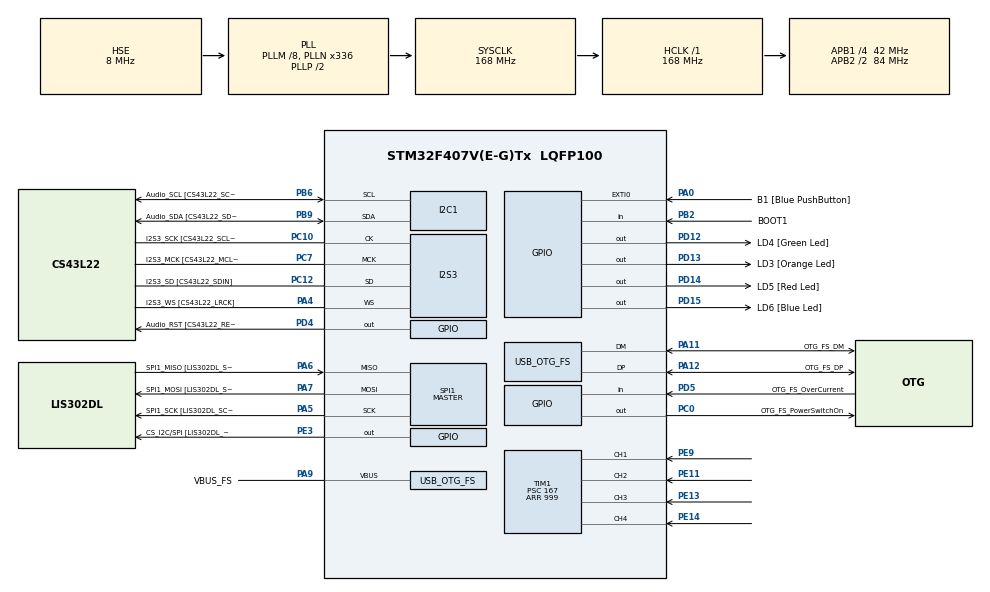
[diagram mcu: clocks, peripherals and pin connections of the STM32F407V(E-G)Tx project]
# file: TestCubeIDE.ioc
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I2S3.AudioFreq-Half_Duplex_Master=I2S_AUDIOFREQ_96K
I2S3.ErrorAudioFreq=-2.34 %
I2S3.ErrorAudioFreq-Half_Duplex_Master=0.8 %
I2S3.FullDuplexMode=I2S_FULLDUPLEXMODE_DISABLE
I2S3.Instance=SPI$Index
I2S3.RealAudioFreq=93.75 KHz
I2S3.RealAudioFreq-Half_Duplex_Master=96.774 KHz
I2S3.VirtualMode=I2S_MODE_MASTER
Mcu.Family=STM32F4
Mcu.Name=STM32F407V(E-G)Tx
Mcu.Package=LQFP100
NVIC.OTG_FS_IRQn=true\:0\:0\:false\:false\:true\:true\:true
NVIC.PriorityGroup=NVIC_PRIORITYGROUP_0
NVIC.TIM1_CC_IRQn=true\:0\:0\:false\:false\:true\:true\:true
NVIC.TIM1_UP_TIM10_IRQn=true\:0\:0\:false\:false\:true\:true\:true
NVIC.TIM2_IRQn=true\:0\:0\:false\:false\:true\:true\:true
NVIC.TIM3_IRQn=true\:0\:0\:false\:false\:true\:true\:true
NVIC.TIM4_IRQn=true\:0\:0\:false\:false\:true\:true\:true
NVIC.TIM5_IRQn=true\:0\:0\:false\:false\:true\:true\:true
PA0-WKUP.GPIO_Label=B1 [Blue PushButton]
PA0-WKUP.GPIO_ModeDefaultEXTI=GPIO_MODE_EVT_RISING
PA0-WKUP.GPIO_PuPd=GPIO_NOPULL
PA0-WKUP.Signal=GPXTI0
PA10.GPIO_Label=OTG_FS_ID
PA10.GPIO_Mode=GPIO_MODE_AF_PP
PA10.GPIO_PuPd=GPIO_NOPULL
PA10.GPIO_Speed=GPIO_SPEED_FREQ_LOW
PA10.Signal=USB_OTG_FS_ID
PA11.GPIO_Label=OTG_FS_DM
PA11.GPIO_Mode=GPIO_MODE_AF_PP
PA11.GPIO_PuPd=GPIO_NOPULL
PA11.GPIO_Speed=GPIO_SPEED_FREQ_LOW
PA11.Mode=Host_Only
PA11.Signal=USB_OTG_FS_DM
PA12.GPIO_Label=OTG_FS_DP
PA12.GPIO_Mode=GPIO_MODE_AF_PP
PA12.GPIO_PuPd=GPIO_NOPULL
PA12.GPIO_Speed=GPIO_SPEED_FREQ_LOW
PA12.Mode=Host_Only
PA12.Signal=USB_OTG_FS_DP
PA13.GPIO_Label=SWDIO
PA13.Mode=Serial_Wire
PA13.Signal=SYS_JTMS-SWDIO
PA14.GPIO_Label=SWCLK
PA14.Mode=Serial_Wire
PA14.Signal=SYS_JTCK-SWCLK
PA4.GPIO_Label=I2S3_WS [CS43L22_LRCK]
PA4.GPIO_Mode=GPIO_MODE_AF_PP
PA4.GPIO_PuPd=GPIO_NOPULL
PA4.GPIO_Speed=GPIO_SPEED_FREQ_LOW
PA4.Mode=Half_Duplex_Master
PA4.Signal=I2S3_WS
PA5.GPIO_Label=SPI1_SCK [LIS302DL_SCL/SPC]
PA5.GPIO_Mode=GPIO_MODE_AF_PP
PA5.GPIO_PuPd=GPIO_NOPULL
PA5.GPIO_Speed=GPIO_SPEED_FREQ_LOW
PA5.Mode=Full_Duplex_Master
PA5.Signal=SPI1_SCK
PA6.GPIO_Label=SPI1_MISO [LIS302DL_SDO]
PA6.GPIO_Mode=GPIO_MODE_AF_PP
PA6.GPIO_PuPd=GPIO_NOPULL
PA6.GPIO_Speed=GPIO_SPEED_FREQ_LOW
PA6.Mode=Full_Duplex_Master
PA6.Signal=SPI1_MISO
PA7.GPIO_Label=SPI1_MOSI [LIS302DL_SDA/SDI/SDO]
PA7.GPIO_Mode=GPIO_MODE_AF_PP
PA7.GPIO_PuPd=GPIO_NOPULL
PA7.GPIO_Speed=GPIO_SPEED_FREQ_LOW
PA7.Mode=Full_Duplex_Master
PA7.Signal=SPI1_MOSI
PA9.GPIO_Label=VBUS_FS
PA9.GPIO_Mode=GPIO_MODE_INPUT
PA9.GPIO_PuPd=GPIO_NOPULL
PA9.Mode=Activate_VBUS
PA9.Signal=USB_OTG_FS_VBUS
PB10.GPIO_Label=CLK_IN [MP45DT02_CLK]
PB10.GPIO_Mode=GPIO_MODE_AF_PP
PB10.GPIO_PuPd=GPIO_NOPULL
PB10.GPIO_Speed=GPIO_SPEED_FREQ_LOW
PB10.Signal=I2S2_CK
PB2.GPIO_Label=BOOT1
PB2.GPIO_Mode=GPIO_MODE_INPUT
PB2.GPIO_PuPd=GPIO_NOPULL
PB2.Signal=GPIO_Input
PB3.GPIO_Label=SWO
PB3.Signal=SYS_JTDO-SWO
PB6.GPIO_Label=Audio_SCL [CS43L22_SCL]
PB6.GPIO_Mode=GPIO_MODE_AF_OD
PB6.GPIO_PuPd=GPIO_NOPULL
PB6.GPIO_Speed=GPIO_SPEED_FREQ_LOW
PB6.Mode=I2C
PB6.Signal=I2C1_SCL
PB9.GPIO_Label=Audio_SDA [CS43L22_SDA]
PB9.GPIO_Mode=GPIO_MODE_AF_OD
PB9.GPIO_PuPd=GPIO_NOPULL
PB9.GPIO_Speed=GPIO_SPEED_FREQ_LOW
PB9.Mode=I2C
PB9.Signal=I2C1_SDA
PC0.GPIO_Label=OTG_FS_PowerSwitchOn
PC0.GPIO_PuPd=GPIO_NOPULL
PC0.GPIO_Speed=GPIO_SPEED_FREQ_LOW
PC0.PinState=GPIO_PIN_SET
PC0.Signal=GPIO_Output
PC10.GPIO_Label=I2S3_SCK [CS43L22_SCLK]
PC10.GPIO_Mode=GPIO_MODE_AF_PP
PC10.GPIO_PuPd=GPIO_NOPULL
PC10.GPIO_Speed=GPIO_SPEED_FREQ_LOW
PC10.Mode=Half_Duplex_Master
PC10.Signal=I2S3_CK
PC12.GPIO_Label=I2S3_SD [CS43L22_SDIN]
PC12.GPIO_Mode=GPIO_MODE_AF_PP
PC12.GPIO_PuPd=GPIO_NOPULL
PC12.GPIO_Speed=GPIO_SPEED_FREQ_LOW
PC12.Mode=Half_Duplex_Master
PC12.Signal=I2S3_SD
PC14-OSC32_IN.GPIO_Label=PC14-OSC32_IN
PC14-OSC32_IN.Mode=LSE-External-Oscillator
PC14-OSC32_IN.Signal=RCC_OSC32_IN
PC15-OSC32_OUT.GPIO_Label=PC15-OSC32_OUT
PC15-OSC32_OUT.Mode=LSE-External-Oscillator
PC15-OSC32_OUT.Signal=RCC_OSC32_OUT
PC3.GPIO_Label=PDM_OUT [MP45DT02_DOUT]
PC3.GPIO_Mode=GPIO_MODE_AF_PP
PC3.GPIO_PuPd=GPIO_NOPULL
PC3.GPIO_Speed=GPIO_SPEED_FREQ_LOW
PC3.Signal=I2S2_SD
PC7.GPIO_Label=I2S3_MCK [CS43L22_MCLK]
PC7.GPIO_Mode=GPIO_MODE_AF_PP
PC7.GPIO_PuPd=GPIO_NOPULL
PC7.GPIO_Speed=GPIO_SPEED_FREQ_LOW
PC7.Mode=Master_Clock_Activated
PC7.Signal=I2S3_MCK
PD12.GPIO_Label=LD4 [Green Led]
PD12.GPIO_PuPd=GPIO_NOPULL
PD12.GPIO_Speed=GPIO_SPEED_FREQ_LOW
PD12.Signal=GPIO_Output
PD13.GPIO_Label=LD3 [Orange Led]
PD13.GPIO_PuPd=GPIO_NOPULL
PD13.GPIO_Speed=GPIO_SPEED_FREQ_LOW
PD13.Signal=GPIO_Output
PD14.GPIO_Label=LD5 [Red Led]
PD14.Signal=GPIO_Output
PD15.GPIO_Label=LD6 [Blue Led]
PD15.GPIO_PuPd=GPIO_NOPULL
PD15.GPIO_Speed=GPIO_SPEED_FREQ_LOW
PD15.Signal=GPIO_Output
PD4.GPIO_Label=Audio_RST [CS43L22_RESET]
PD4.GPIO_PuPd=GPIO_NOPULL
PD4.GPIO_Speed=GPIO_SPEED_FREQ_LOW
PD4.Signal=GPIO_Output
PD5.GPIO_Label=OTG_FS_OverCurrent
PD5.GPIO_Mode=GPIO_MODE_INPUT
PD5.GPIO_PuPd=GPIO_NOPULL
PD5.Signal=GPIO_Input
PE11.Signal=S_TIM1_CH2
PE13.Signal=S_TIM1_CH3
PE14.Signal=S_TIM1_CH4
PE3.GPIO_Label=CS_I2C/SPI [LIS302DL_CS_I2C/SPI]
PE3.GPIO_PuPd=GPIO_NOPULL
PE3.GPIO_Speed=GPIO_SPEED_FREQ_LOW
PE3.Signal=GPIO_Output
PE9.Signal=S_TIM1_CH1
PH0-OSC_IN.GPIO_Label=PH0-OSC_IN
PH0-OSC_IN.Mode=HSE-External-Oscillator
PH0-OSC_IN.Signal=RCC_OSC_IN
PH1-OSC_OUT.GPIO_Label=PH1-OSC_OUT
PH1-OSC_OUT.Mode=HSE-External-Oscillator
PH1-OSC_OUT.Signal=RCC_OSC_OUT
ProjectManager.HeapSize=0x200
ProjectManager.StackSize=0x400
ProjectManager.TargetToolchain=STM32CubeIDE
RCC.48MHZClocksFreq_Value=48000000
RCC.AHBFreq_Value=168000000
RCC.APB1CLKDivider=RCC_HCLK_DIV4
RCC.APB1Freq_Value=42000000
RCC.APB1TimFreq_Value=84000000
RCC.APB2CLKDivider=RCC_HCLK_DIV2
RCC.APB2Freq_Value=84000000
RCC.APB2TimFreq_Value=168000000
RCC.CortexFreq_Value=168000000
RCC.HCLKFreq_Value=168000000
RCC.HSE_VALUE=8000000
RCC.HSI_VALUE=16000000
RCC.PLLM=8
RCC.PLLN=336
RCC.PLLQ=7
RCC.SYSCLKFreq_VALUE=168000000
RCC.SYSCLKSource=RCC_SYSCLKSOURCE_PLLCLK
RCC.VCOOutputFreq_Value=336000000
SH.S_TIM1_CH1.0=TIM1_CH1,Input_Capture1_from_TI1
SH.S_TIM1_CH2.0=TIM1_CH2,Input_Capture2_from_TI2
SH.S_TIM1_CH3.0=TIM1_CH3,Input_Capture3_from_TI3
SH.S_TIM1_CH4.0=TIM1_CH4,Input_Capture4_from_TI4
SPI1.BaudRatePrescaler-Full_Duplex_Master=SPI_BAUDRATEPRESCALER_2
SPI1.CalculateBaudRate-Full_Duplex_Master=42.0 MBits/s
SPI1.Direction=SPI_DIRECTION_2LINES
SPI1.Mode=SPI_MODE_MASTER
SPI1.Mode-Full_Duplex_Master=SPI_MODE_MASTER
SPI1.VirtualType=VM_MASTER
TIM1.Channel-Input_Capture1_from_TI1=TIM_CHANNEL_1
TIM1.Channel-Input_Capture2_from_TI2=TIM_CHANNEL_2
TIM1.Channel-Input_Capture3_from_TI3=TIM_CHANNEL_3
TIM1.Channel-Input_Capture4_from_TI4=TIM_CHANNEL_4
TIM1.ICPrescaler-Input_Capture1_from_TI1=TIM_ICPSC_DIV1
TIM1.ICPrescaler-Input_Capture2_from_TI2=TIM_ICPSC_DIV1
TIM1.ICPrescaler-Input_Capture3_from_TI3=TIM_ICPSC_DIV1
TIM1.ICPrescaler-Input_Capture4_from_TI4=TIM_ICPSC_DIV1
TIM1.Period=999
TIM1.Prescaler=167
TIM2.Period=999
TIM2.Prescaler=41
TIM3.Period=999
TIM3.Prescaler=41
TIM4.Period=999
TIM4.Prescaler=41
TIM5.Period=999
TIM5.Prescaler=41
USB_HOST.BSP.number=1
USB_HOST.USBH_HandleTypeDef-CDC_FS=hUsbHostFS
USB_HOST.VirtualModeFS=Cdc
USB_HOST0.BSP.STBoard=false
USB_HOST0.BSP.api=Unknown
USB_HOST0.BSP.i2caddr=0
USB_HOST0.BSP.i2creg=0
USB_HOST0.BSP.instance=PC0
USB_HOST0.BSP.ip=GPIO
USB_HOST0.BSP.mode=Output
USB_HOST0.BSP.name=Drive_VBUS_FS
USB_HOST0.BSP.solution=PC0
USB_OTG_FS.VirtualMode=Host_Only
USB_OTG_FS.phy_itface=HCD_PHY_EMBEDDED
VP_TIM1_VS_ClockSourceINT.Mode=Internal
VP_TIM2_VS_ClockSourceINT.Mode=Internal
VP_TIM3_VS_ClockSourceINT.Mode=Internal
VP_TIM4_VS_ClockSourceINT.Mode=Internal
VP_TIM5_VS_ClockSourceINT.Mode=Internal
VP_TIM8_VS_ClockSourceINT.Mode=Internal
VP_USB_HOST_VS_USB_HOST_CDC_FS.Mode=CDC_FS
board=STM32F407G-DISC1

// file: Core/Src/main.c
/* USER CODE BEGIN Header */
/**
  ******************************************************************************
  * @file           : main.c
  * @brief          : Main program body
  ******************************************************************************
  * @attention
  *
  * <h2><center>&copy; Copyright (c) 2021 STMicroelectronics.
  * All rights reserved.</center></h2>
  *
  * This software component is licensed by ST under Ultimate Liberty license
  * SLA0044, the "License"; You may not use this file except in compliance with
  * the License. You may obtain a copy of the License at:
  *                             www.st.com/SLA0044
  *
  ******************************************************************************
  */
/* USER CODE END Header */
#include "main.h"
#include "usb_host.h"

/* USER CODE BEGIN Includes */
#include "stdio.h"
#include "dwt_stm32_delay.h"
#include "string.h"
/* USER CODE END Includes */

I2C_HandleTypeDef hi2c1;

I2S_HandleTypeDef hi2s3;

SPI_HandleTypeDef hspi1;

TIM_HandleTypeDef htim1;
TIM_HandleTypeDef htim2;
TIM_HandleTypeDef htim3;
TIM_HandleTypeDef htim4;
TIM_HandleTypeDef htim5;
TIM_HandleTypeDef htim8;

void SystemClock_Config(void);
static void MX_GPIO_Init(void);
static void MX_I2C1_Init(void);
static void MX_I2S3_Init(void);
static void MX_SPI1_Init(void);
static void MX_TIM1_Init(void);
static void MX_TIM2_Init(void);
static void MX_TIM3_Init(void);
static void MX_TIM8_Init(void);
static void MX_TIM4_Init(void);
static void MX_TIM5_Init(void);
void MX_USB_HOST_Process(void);

/* USER CODE BEGIN 0 */
int delay;
uint16_t firstPhaseShift;
uint16_t secondPhaseShift;
uint16_t thirdPhaseShift;
int flag = 0;
int flag2 = 0;
HAL_TIM_ActiveChannel signalOrder[4];
uint16_t channelOrder[4];

/* USER CODE END 0 */

int main(void)
{

  /* MCU Configuration--------------------------------------------------------*/

  /* Reset of all peripherals, Initializes the Flash interface and the Systick. */
  HAL_Init();

  /* USER CODE BEGIN Init */
  DWT_Delay_Init();
  /* USER CODE END Init */

  /* Configure the system clock */
  SystemClock_Config();

  /* Initialize all configured peripherals */
  MX_GPIO_Init();
  MX_I2C1_Init();
  MX_I2S3_Init();
  MX_SPI1_Init();
  MX_USB_HOST_Init();
  MX_TIM1_Init();
  MX_TIM2_Init();
  MX_TIM3_Init();
  MX_TIM8_Init();
  MX_TIM4_Init();
  MX_TIM5_Init();
  /* USER CODE BEGIN 2 */

  HAL_TIM_IC_Start_IT(&htim1, TIM_CHANNEL_1);
  HAL_TIM_IC_Start_IT(&htim1, TIM_CHANNEL_2);
  //HAL_TIM_IC_Start_IT(&htim1, TIM_CHANNEL_3);
  //HAL_TIM_IC_Start_IT(&htim1, TIM_CHANNEL_4);
  /*HAL_TIM_Base_Start_IT(&htim2);
  DWT_Delay_us(200);
  HAL_TIM_Base_Start_IT(&htim3);
  DWT_Delay_us(100);
  HAL_TIM_Base_Start_IT(&htim4);
  DWT_Delay_us(100);
  HAL_TIM_Base_Start_IT(&htim5);*/

  /* USER CODE END 2 */

  /* Infinite loop */
  while (1)
  {
    MX_USB_HOST_Process();

  }
}

void SystemClock_Config(void)
{
  RCC_OscInitTypeDef RCC_OscInitStruct = {0};
  RCC_ClkInitTypeDef RCC_ClkInitStruct = {0};
  RCC_PeriphCLKInitTypeDef PeriphClkInitStruct = {0};

  /** Configure the main internal regulator output voltage
  */
  __HAL_RCC_PWR_CLK_ENABLE();
  __HAL_PWR_VOLTAGESCALING_CONFIG(PWR_REGULATOR_VOLTAGE_SCALE1);
  /** Initializes the RCC Oscillators according to the specified parameters
  * in the RCC_OscInitTypeDef structure.
  */
  RCC_OscInitStruct.OscillatorType = RCC_OSCILLATORTYPE_HSE;
  RCC_OscInitStruct.HSEState = RCC_HSE_ON;
  RCC_OscInitStruct.PLL.PLLState = RCC_PLL_ON;
  RCC_OscInitStruct.PLL.PLLSource = RCC_PLLSOURCE_HSE;
  RCC_OscInitStruct.PLL.PLLM = 8;
  RCC_OscInitStruct.PLL.PLLN = 336;
  RCC_OscInitStruct.PLL.PLLP = RCC_PLLP_DIV2;
  RCC_OscInitStruct.PLL.PLLQ = 7;
  if (HAL_RCC_OscConfig(&RCC_OscInitStruct) != HAL_OK)
  {
    Error_Handler();
  }
  /** Initializes the CPU, AHB and APB buses clocks
  */
  RCC_ClkInitStruct.ClockType = RCC_CLOCKTYPE_HCLK|RCC_CLOCKTYPE_SYSCLK
                              |RCC_CLOCKTYPE_PCLK1|RCC_CLOCKTYPE_PCLK2;
  RCC_ClkInitStruct.SYSCLKSource = RCC_SYSCLKSOURCE_PLLCLK;
  RCC_ClkInitStruct.AHBCLKDivider = RCC_SYSCLK_DIV1;
  RCC_ClkInitStruct.APB1CLKDivider = RCC_HCLK_DIV4;
  RCC_ClkInitStruct.APB2CLKDivider = RCC_HCLK_DIV2;

  if (HAL_RCC_ClockConfig(&RCC_ClkInitStruct, FLASH_LATENCY_5) != HAL_OK)
  {
    Error_Handler();
  }
  PeriphClkInitStruct.PeriphClockSelection = RCC_PERIPHCLK_I2S;
  PeriphClkInitStruct.PLLI2S.PLLI2SN = 192;
  PeriphClkInitStruct.PLLI2S.PLLI2SR = 2;
  if (HAL_RCCEx_PeriphCLKConfig(&PeriphClkInitStruct) != HAL_OK)
  {
    Error_Handler();
  }
}

static void MX_I2C1_Init(void)
{

  hi2c1.Instance = I2C1;
  hi2c1.Init.ClockSpeed = 100000;
  hi2c1.Init.DutyCycle = I2C_DUTYCYCLE_2;
  hi2c1.Init.OwnAddress1 = 0;
  hi2c1.Init.AddressingMode = I2C_ADDRESSINGMODE_7BIT;
  hi2c1.Init.DualAddressMode = I2C_DUALADDRESS_DISABLE;
  hi2c1.Init.OwnAddress2 = 0;
  hi2c1.Init.GeneralCallMode = I2C_GENERALCALL_DISABLE;
  hi2c1.Init.NoStretchMode = I2C_NOSTRETCH_DISABLE;
  if (HAL_I2C_Init(&hi2c1) != HAL_OK)
  {
    Error_Handler();
  }

}

static void MX_I2S3_Init(void)
{

  hi2s3.Instance = SPI3;
  hi2s3.Init.Mode = I2S_MODE_MASTER_TX;
  hi2s3.Init.Standard = I2S_STANDARD_PHILIPS;
  hi2s3.Init.DataFormat = I2S_DATAFORMAT_16B;
  hi2s3.Init.MCLKOutput = I2S_MCLKOUTPUT_ENABLE;
  hi2s3.Init.AudioFreq = I2S_AUDIOFREQ_96K;
  hi2s3.Init.CPOL = I2S_CPOL_LOW;
  hi2s3.Init.ClockSource = I2S_CLOCK_PLL;
  hi2s3.Init.FullDuplexMode = I2S_FULLDUPLEXMODE_DISABLE;
  if (HAL_I2S_Init(&hi2s3) != HAL_OK)
  {
    Error_Handler();
  }

}

static void MX_SPI1_Init(void)
{

  /* SPI1 parameter configuration*/
  hspi1.Instance = SPI1;
  hspi1.Init.Mode = SPI_MODE_MASTER;
  hspi1.Init.Direction = SPI_DIRECTION_2LINES;
  hspi1.Init.DataSize = SPI_DATASIZE_8BIT;
  hspi1.Init.CLKPolarity = SPI_POLARITY_LOW;
  hspi1.Init.CLKPhase = SPI_PHASE_1EDGE;
  hspi1.Init.NSS = SPI_NSS_SOFT;
  hspi1.Init.BaudRatePrescaler = SPI_BAUDRATEPRESCALER_2;
  hspi1.Init.FirstBit = SPI_FIRSTBIT_MSB;
  hspi1.Init.TIMode = SPI_TIMODE_DISABLE;
  hspi1.Init.CRCCalculation = SPI_CRCCALCULATION_DISABLE;
  hspi1.Init.CRCPolynomial = 10;
  if (HAL_SPI_Init(&hspi1) != HAL_OK)
  {
    Error_Handler();
  }

}

static void MX_TIM1_Init(void)
{

  TIM_ClockConfigTypeDef sClockSourceConfig = {0};
  TIM_MasterConfigTypeDef sMasterConfig = {0};
  TIM_IC_InitTypeDef sConfigIC = {0};

  htim1.Instance = TIM1;
  htim1.Init.Prescaler = 167;
  htim1.Init.CounterMode = TIM_COUNTERMODE_UP;
  htim1.Init.Period = 999;
  htim1.Init.ClockDivision = TIM_CLOCKDIVISION_DIV1;
  htim1.Init.RepetitionCounter = 0;
  htim1.Init.AutoReloadPreload = TIM_AUTORELOAD_PRELOAD_DISABLE;
  if (HAL_TIM_Base_Init(&htim1) != HAL_OK)
  {
    Error_Handler();
  }
  sClockSourceConfig.ClockSource = TIM_CLOCKSOURCE_INTERNAL;
  if (HAL_TIM_ConfigClockSource(&htim1, &sClockSourceConfig) != HAL_OK)
  {
    Error_Handler();
  }
  if (HAL_TIM_IC_Init(&htim1) != HAL_OK)
  {
    Error_Handler();
  }
  sMasterConfig.MasterOutputTrigger = TIM_TRGO_RESET;
  sMasterConfig.MasterSlaveMode = TIM_MASTERSLAVEMODE_DISABLE;
  if (HAL_TIMEx_MasterConfigSynchronization(&htim1, &sMasterConfig) != HAL_OK)
  {
    Error_Handler();
  }
  sConfigIC.ICPolarity = TIM_INPUTCHANNELPOLARITY_RISING;
  sConfigIC.ICSelection = TIM_ICSELECTION_DIRECTTI;
  sConfigIC.ICPrescaler = TIM_ICPSC_DIV1;
  sConfigIC.ICFilter = 0;
  if (HAL_TIM_IC_ConfigChannel(&htim1, &sConfigIC, TIM_CHANNEL_1) != HAL_OK)
  {
    Error_Handler();
  }
  if (HAL_TIM_IC_ConfigChannel(&htim1, &sConfigIC, TIM_CHANNEL_2) != HAL_OK)
  {
    Error_Handler();
  }
  if (HAL_TIM_IC_ConfigChannel(&htim1, &sConfigIC, TIM_CHANNEL_3) != HAL_OK)
  {
    Error_Handler();
  }
  if (HAL_TIM_IC_ConfigChannel(&htim1, &sConfigIC, TIM_CHANNEL_4) != HAL_OK)
  {
    Error_Handler();
  }

}

static void MX_TIM2_Init(void)
{

  TIM_ClockConfigTypeDef sClockSourceConfig = {0};
  TIM_MasterConfigTypeDef sMasterConfig = {0};

  htim2.Instance = TIM2;
  htim2.Init.Prescaler = 41;
  htim2.Init.CounterMode = TIM_COUNTERMODE_UP;
  htim2.Init.Period = 999;
  htim2.Init.ClockDivision = TIM_CLOCKDIVISION_DIV1;
  htim2.Init.AutoReloadPreload = TIM_AUTORELOAD_PRELOAD_DISABLE;
  if (HAL_TIM_Base_Init(&htim2) != HAL_OK)
  {
    Error_Handler();
  }
  sClockSourceConfig.ClockSource = TIM_CLOCKSOURCE_INTERNAL;
  if (HAL_TIM_ConfigClockSource(&htim2, &sClockSourceConfig) != HAL_OK)
  {
    Error_Handler();
  }
  sMasterConfig.MasterOutputTrigger = TIM_TRGO_RESET;
  sMasterConfig.MasterSlaveMode = TIM_MASTERSLAVEMODE_DISABLE;
  if (HAL_TIMEx_MasterConfigSynchronization(&htim2, &sMasterConfig) != HAL_OK)
  {
    Error_Handler();
  }

}

static void MX_TIM3_Init(void)
{

  TIM_ClockConfigTypeDef sClockSourceConfig = {0};
  TIM_MasterConfigTypeDef sMasterConfig = {0};

  htim3.Instance = TIM3;
  htim3.Init.Prescaler = 41;
  htim3.Init.CounterMode = TIM_COUNTERMODE_UP;
  htim3.Init.Period = 999;
  htim3.Init.ClockDivision = TIM_CLOCKDIVISION_DIV1;
  htim3.Init.AutoReloadPreload = TIM_AUTORELOAD_PRELOAD_DISABLE;
  if (HAL_TIM_Base_Init(&htim3) != HAL_OK)
  {
    Error_Handler();
  }
  sClockSourceConfig.ClockSource = TIM_CLOCKSOURCE_INTERNAL;
  if (HAL_TIM_ConfigClockSource(&htim3, &sClockSourceConfig) != HAL_OK)
  {
    Error_Handler();
  }
  sMasterConfig.MasterOutputTrigger = TIM_TRGO_RESET;
  sMasterConfig.MasterSlaveMode = TIM_MASTERSLAVEMODE_DISABLE;
  if (HAL_TIMEx_MasterConfigSynchronization(&htim3, &sMasterConfig) != HAL_OK)
  {
    Error_Handler();
  }

}

static void MX_TIM4_Init(void)
{

  TIM_ClockConfigTypeDef sClockSourceConfig = {0};
  TIM_MasterConfigTypeDef sMasterConfig = {0};

  htim4.Instance = TIM4;
  htim4.Init.Prescaler = 41;
  htim4.Init.CounterMode = TIM_COUNTERMODE_UP;
  htim4.Init.Period = 999;
  htim4.Init.ClockDivision = TIM_CLOCKDIVISION_DIV1;
  htim4.Init.AutoReloadPreload = TIM_AUTORELOAD_PRELOAD_DISABLE;
  if (HAL_TIM_Base_Init(&htim4) != HAL_OK)
  {
    Error_Handler();
  }
  sClockSourceConfig.ClockSource = TIM_CLOCKSOURCE_INTERNAL;
  if (HAL_TIM_ConfigClockSource(&htim4, &sClockSourceConfig) != HAL_OK)
  {
    Error_Handler();
  }
  sMasterConfig.MasterOutputTrigger = TIM_TRGO_RESET;
  sMasterConfig.MasterSlaveMode = TIM_MASTERSLAVEMODE_DISABLE;
  if (HAL_TIMEx_MasterConfigSynchronization(&htim4, &sMasterConfig) != HAL_OK)
  {
    Error_Handler();
  }

}

static void MX_TIM5_Init(void)
{

  TIM_ClockConfigTypeDef sClockSourceConfig = {0};
  TIM_MasterConfigTypeDef sMasterConfig = {0};

  htim5.Instance = TIM5;
  htim5.Init.Prescaler = 41;
  htim5.Init.CounterMode = TIM_COUNTERMODE_UP;
  htim5.Init.Period = 999;
  htim5.Init.ClockDivision = TIM_CLOCKDIVISION_DIV1;
  htim5.Init.AutoReloadPreload = TIM_AUTORELOAD_PRELOAD_DISABLE;
  if (HAL_TIM_Base_Init(&htim5) != HAL_OK)
  {
    Error_Handler();
  }
  sClockSourceConfig.ClockSource = TIM_CLOCKSOURCE_INTERNAL;
  if (HAL_TIM_ConfigClockSource(&htim5, &sClockSourceConfig) != HAL_OK)
  {
    Error_Handler();
  }
  sMasterConfig.MasterOutputTrigger = TIM_TRGO_RESET;
  sMasterConfig.MasterSlaveMode = TIM_MASTERSLAVEMODE_DISABLE;
  if (HAL_TIMEx_MasterConfigSynchronization(&htim5, &sMasterConfig) != HAL_OK)
  {
    Error_Handler();
  }

}

static void MX_TIM8_Init(void)
{

  TIM_ClockConfigTypeDef sClockSourceConfig = {0};
  TIM_MasterConfigTypeDef sMasterConfig = {0};

  htim8.Instance = TIM8;
  htim8.Init.Prescaler = 0;
  htim8.Init.CounterMode = TIM_COUNTERMODE_UP;
  htim8.Init.Period = 65535;
  htim8.Init.ClockDivision = TIM_CLOCKDIVISION_DIV1;
  htim8.Init.RepetitionCounter = 0;
  htim8.Init.AutoReloadPreload = TIM_AUTORELOAD_PRELOAD_DISABLE;
  if (HAL_TIM_Base_Init(&htim8) != HAL_OK)
  {
    Error_Handler();
  }
  sClockSourceConfig.ClockSource = TIM_CLOCKSOURCE_INTERNAL;
  if (HAL_TIM_ConfigClockSource(&htim8, &sClockSourceConfig) != HAL_OK)
  {
    Error_Handler();
  }
  sMasterConfig.MasterOutputTrigger = TIM_TRGO_RESET;
  sMasterConfig.MasterSlaveMode = TIM_MASTERSLAVEMODE_DISABLE;
  if (HAL_TIMEx_MasterConfigSynchronization(&htim8, &sMasterConfig) != HAL_OK)
  {
    Error_Handler();
  }

}

static void MX_GPIO_Init(void)
{
  GPIO_InitTypeDef GPIO_InitStruct = {0};

  /* GPIO Ports Clock Enable */
  __HAL_RCC_GPIOE_CLK_ENABLE();
  __HAL_RCC_GPIOC_CLK_ENABLE();
  __HAL_RCC_GPIOH_CLK_ENABLE();
  __HAL_RCC_GPIOA_CLK_ENABLE();
  __HAL_RCC_GPIOB_CLK_ENABLE();
  __HAL_RCC_GPIOD_CLK_ENABLE();

  /*Configure GPIO pin Output Level */
  HAL_GPIO_WritePin(CS_I2C_SPI_GPIO_Port, CS_I2C_SPI_Pin, GPIO_PIN_RESET);

  /*Configure GPIO pin Output Level */
  HAL_GPIO_WritePin(OTG_FS_PowerSwitchOn_GPIO_Port, OTG_FS_PowerSwitchOn_Pin, GPIO_PIN_SET);

  /*Configure GPIO pin Output Level */
  HAL_GPIO_WritePin(GPIOD, LD4_Pin|LD3_Pin|LD5_Pin|LD6_Pin
                          |Audio_RST_Pin, GPIO_PIN_RESET);

  /*Configure GPIO pin : CS_I2C_SPI_Pin */
  GPIO_InitStruct.Pin = CS_I2C_SPI_Pin;
  GPIO_InitStruct.Mode = GPIO_MODE_OUTPUT_PP;
  GPIO_InitStruct.Pull = GPIO_NOPULL;
  GPIO_InitStruct.Speed = GPIO_SPEED_FREQ_LOW;
  HAL_GPIO_Init(CS_I2C_SPI_GPIO_Port, &GPIO_InitStruct);

  /*Configure GPIO pin : OTG_FS_PowerSwitchOn_Pin */
  GPIO_InitStruct.Pin = OTG_FS_PowerSwitchOn_Pin;
  GPIO_InitStruct.Mode = GPIO_MODE_OUTPUT_PP;
  GPIO_InitStruct.Pull = GPIO_NOPULL;
  GPIO_InitStruct.Speed = GPIO_SPEED_FREQ_LOW;
  HAL_GPIO_Init(OTG_FS_PowerSwitchOn_GPIO_Port, &GPIO_InitStruct);

  /*Configure GPIO pin : PDM_OUT_Pin */
  GPIO_InitStruct.Pin = PDM_OUT_Pin;
  GPIO_InitStruct.Mode = GPIO_MODE_AF_PP;
  GPIO_InitStruct.Pull = GPIO_NOPULL;
  GPIO_InitStruct.Speed = GPIO_SPEED_FREQ_LOW;
  GPIO_InitStruct.Alternate = GPIO_AF5_SPI2;
  HAL_GPIO_Init(PDM_OUT_GPIO_Port, &GPIO_InitStruct);

  /*Configure GPIO pin : B1_Pin */
  GPIO_InitStruct.Pin = B1_Pin;
  GPIO_InitStruct.Mode = GPIO_MODE_EVT_RISING;
  GPIO_InitStruct.Pull = GPIO_NOPULL;
  HAL_GPIO_Init(B1_GPIO_Port, &GPIO_InitStruct);

  /*Configure GPIO pin : BOOT1_Pin */
  GPIO_InitStruct.Pin = BOOT1_Pin;
  GPIO_InitStruct.Mode = GPIO_MODE_INPUT;
  GPIO_InitStruct.Pull = GPIO_NOPULL;
  HAL_GPIO_Init(BOOT1_GPIO_Port, &GPIO_InitStruct);

  /*Configure GPIO pin : CLK_IN_Pin */
  GPIO_InitStruct.Pin = CLK_IN_Pin;
  GPIO_InitStruct.Mode = GPIO_MODE_AF_PP;
  GPIO_InitStruct.Pull = GPIO_NOPULL;
  GPIO_InitStruct.Speed = GPIO_SPEED_FREQ_LOW;
  GPIO_InitStruct.Alternate = GPIO_AF5_SPI2;
  HAL_GPIO_Init(CLK_IN_GPIO_Port, &GPIO_InitStruct);

  /*Configure GPIO pins : LD4_Pin LD3_Pin LD5_Pin LD6_Pin
                           Audio_RST_Pin */
  GPIO_InitStruct.Pin = LD4_Pin|LD3_Pin|LD5_Pin|LD6_Pin
                          |Audio_RST_Pin;
  GPIO_InitStruct.Mode = GPIO_MODE_OUTPUT_PP;
  GPIO_InitStruct.Pull = GPIO_NOPULL;
  GPIO_InitStruct.Speed = GPIO_SPEED_FREQ_LOW;
  HAL_GPIO_Init(GPIOD, &GPIO_InitStruct);

  /*Configure GPIO pin : OTG_FS_OverCurrent_Pin */
  GPIO_InitStruct.Pin = OTG_FS_OverCurrent_Pin;
  GPIO_InitStruct.Mode = GPIO_MODE_INPUT;
  GPIO_InitStruct.Pull = GPIO_NOPULL;
  HAL_GPIO_Init(OTG_FS_OverCurrent_GPIO_Port, &GPIO_InitStruct);

}

/* USER CODE BEGIN 4 */
void HAL_TIM_IC_CaptureCallback(TIM_HandleTypeDef *htim) {

	if (htim->Instance == TIM1) {
		if (flag < 2) {
			signalOrder[flag] = htim->Channel;

			if (htim->Channel == HAL_TIM_ACTIVE_CHANNEL_1) {
				channelOrder[flag] = TIM_CHANNEL_1;
			}
			else if (htim->Channel == HAL_TIM_ACTIVE_CHANNEL_2) {
				channelOrder[flag] = TIM_CHANNEL_2;
			}
			else if (htim->Channel == HAL_TIM_ACTIVE_CHANNEL_3) {
				channelOrder[flag] = TIM_CHANNEL_3;
			}
			else if (htim->Channel == HAL_TIM_ACTIVE_CHANNEL_4) {
				channelOrder[flag] = TIM_CHANNEL_4;
			}
			flag++;
		}

		else  {

			if ((htim->Channel == signalOrder[0]) && (flag2 == 0)) {
				__HAL_TIM_SET_COUNTER(&htim1, 0);
				flag2 = 1;
			}
			else if ((htim->Channel == signalOrder[1]) && (flag2 == 1)) {
				firstPhaseShift = HAL_TIM_ReadCapturedValue(&htim1, channelOrder[1]);
				flag2 = 0;
				flag = 0;
				delay = 0;
			}
			else if ((htim->Channel == signalOrder[2]) && (flag2 == 2)) {
				secondPhaseShift = HAL_TIM_ReadCapturedValue(&htim1, channelOrder[2]);
				flag2 = 3;
			}
			else if ((htim->Channel == signalOrder[3]) && (flag2 == 3)) {
				thirdPhaseShift = HAL_TIM_ReadCapturedValue(&htim1, channelOrder[3]);
				flag2 = 0;
				flag = 0;
				delay = 0;
			}
		}

	}

}

/* USER CODE END 4 */

void Error_Handler(void)
{
  __disable_irq();
  while (1)
  {
  }
}

/************************ (C) COPYRIGHT STMicroelectronics *****END OF FILE****/
